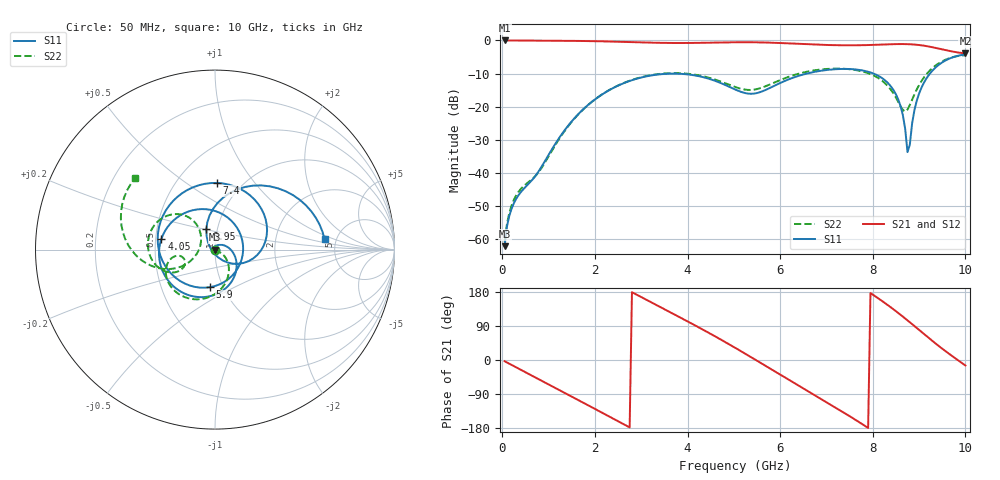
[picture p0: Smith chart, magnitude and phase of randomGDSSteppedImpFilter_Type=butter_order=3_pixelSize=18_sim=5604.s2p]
! freq	dB(S11)	phase(S11)	dB(S12)	phase(S12)
!  dB(S21)	phase(S21)	dB(S22)	phase(S22)
!S-par simulation data
#  GHz  S  DB  R 50
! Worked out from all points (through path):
!   200 points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, 50 MHz to 10 GHz, reference 50 ohm
!   highest |S21| = -0.01 dB at 50 MHz (marker M1); lowest = -3.9 dB at 10 GHz (marker M2)
!   group delay of S21, straight-line fit = 199 ps
!   lowest |S11| = -62.1 dB at 50 MHz (marker M3), VSWR 1.00, Z = 50 - j0.0677 ohm
!   |S11| at or under -10 dB: start of sweep to 6.577 GHz; 8.015 GHz to 9.235 GHz (1.22 GHz wide, 14.1 % of centre)
!   |S22| runs from -60.7 to -4.5 dB; largest |S21 - S12| = 0
!   S11 on the Smith chart (normalised r, x): 50 MHz: 1.00, -0.00; 4.05 GHz: 0.54, +0.07; 5.9 GHz: 0.87, -0.38; 7.4 GHz: 0.77, +0.66; 8.95 GHz: 0.89, +0.20; 10 GHz: 4.03, +0.74
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0.05  -62.10 -59.5  -0.01 -3.3  -0.01 -3.3  -60.75 -62.0
0.15  -53.00 -94.9  -0.02 -9.7  -0.02 -9.7  -52.13 -74.1
0.3  -47.80 -125.6  -0.03 -19.3  -0.03 -19.3  -46.77 -80.0
1.05  -33.36 76.8  -0.08 -67.4  -0.08 -67.4  -33.77 -31.5
1.75  -20.74 -3.1  -0.17 -112.7  -0.17 -112.7  -20.80 -42.3
2.6  -13.03 -74.3  -0.43 -168.2  -0.43 -168.2  -12.97 -82.2
3.4  -10.23 -137.4  -0.73 140.4  -0.73 140.4  -10.10 -121.4
4.05  -10.33 168.4  -0.77 98.7  -0.77 98.7  -10.12 -149.8
4.55  -11.97 119.5  -0.66 65.5  -0.66 65.5  -11.61 -166.4
5.05  -14.94 53.3  -0.55 30.7  -0.55 30.7  -14.16 -169.4
5.5  -15.88 -29.9  -0.57 -1.9  -0.57 -1.9  -14.68 -155.0
5.9  -13.51 -97.4  -0.72 -31.2  -0.72 -31.2  -12.56 -149.3
6.7  -9.61 163.7  -1.22 -89.4  -1.22 -89.4  -9.12 -168.6
7.4  -8.60 88.4  -1.47 -140.7  -1.47 -140.7  -8.57 164.6
7.9  -9.45 36.0  -1.39 -179.3  -1.39 -179.3  -9.89 143.1
8.35  -13.19 -12.9  -1.17 142.6  -1.17 142.6  -14.17 126.6
8.6  -19.82 -45.3  -1.09 119.3  -1.09 119.3  -19.87 139.7
8.7  -26.74 -68.5  -1.10 109.6  -1.10 109.6  -21.43 166.4
8.75  -33.72 -107.6  -1.12 104.6  -1.12 104.6  -20.86 -178.0
8.95  -18.19 113.1  -1.31 84.4  -1.31 84.4  -14.79 -153.2
9.45  -7.10 54.1  -2.54 34.5  -2.54 34.5  -6.69 -179.3
10  -4.25 5.4  -3.88 -14.5  -3.88 -14.5  -4.48 138.1
